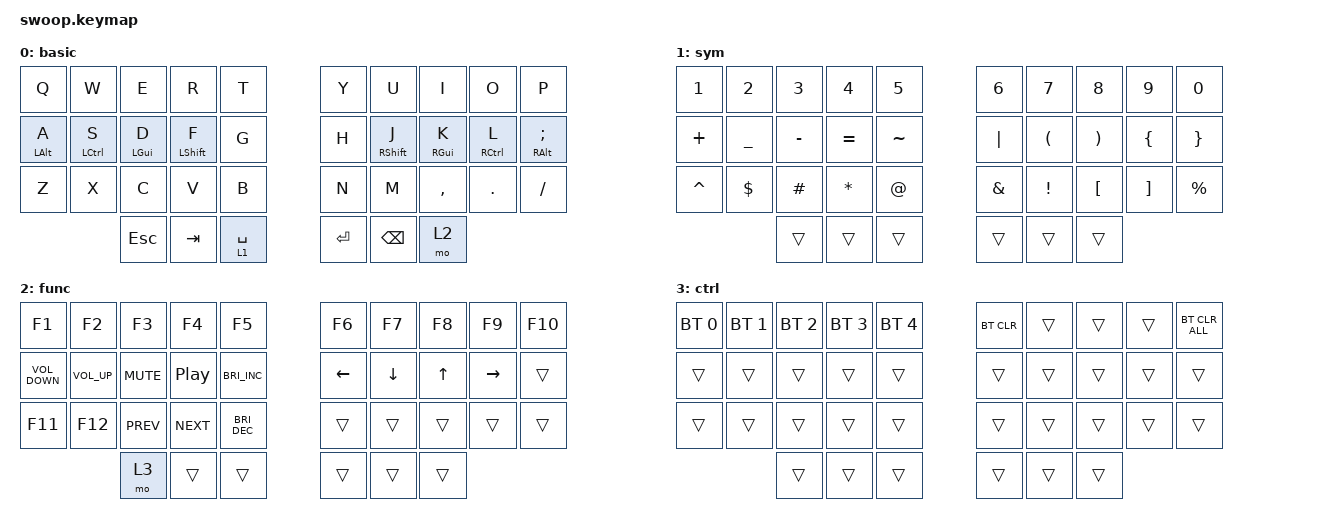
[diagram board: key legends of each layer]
/*
 * Copyright (c) 2020 duckyb
 *
 * SPDX-License-Identifier: MIT
 */

#include <behaviors.dtsi>
#include <dt-bindings/zmk/bt.h>
#include <dt-bindings/zmk/keys.h>

/ {
    combos {
        compatible = "zmk,combos";

        escape {
            bindings = <&kp ESCAPE>;
            key-positions = <0 1>;
            layers = <0>;
        };

        single_quote {
            bindings = <&kp SINGLE_QUOTE>;
            key-positions = <20 21>;
            layers = <0>;
        };

        blackslash {
            bindings = <&kp BACKSLASH>;
            key-positions = <28 29>;
            layers = <0>;
        };

        grave {
            bindings = <&kp GRAVE>;
            key-positions = <20 21>;
            layers = <1>;
        };

        bootloader {
            bindings = <&bootloader>;
            key-positions = <25 26 27>;
            layers = <2>;
        };
    };

    behaviors {
        hm: homerow_mods {
            compatible = "zmk,behavior-hold-tap";
            label = "HOMEROW_MODS";
            #binding-cells = <2>;
            tapping-term-ms = <200>;
            flavor = "balanced";
            bindings = <&kp>, <&kp>;

            quick-tap-ms = <200>;
        };

        ltc: layer-tap_custom {
            compatible = "zmk,behavior-hold-tap";
            label = "LAYER-TAP_CUSTOM";
            #binding-cells = <2>;
            tapping-term-ms = <200>;
            flavor = "balanced";
            bindings = <&mo>, <&kp>;

            quick-tap-ms = <200>;
        };
    };

    keymap {
        compatible = "zmk,keymap";

        basic {
            bindings = <
&kp Q           &kp W               &kp E           &kp R             &kp T           &kp Y      &kp U              &kp I            &kp O                &kp P
&hm LEFT_ALT A  &hm LEFT_CONTROL S  &hm LEFT_GUI D  &hm LEFT_SHIFT F  &kp G           &kp H      &hm RIGHT_SHIFT J  &hm RIGHT_GUI K  &hm RIGHT_CONTROL L  &hm RIGHT_ALT SEMICOLON
&kp Z           &kp X               &kp C           &kp V             &kp B           &kp N      &kp M              &kp COMMA        &kp PERIOD           &kp SLASH
                                    &kp ESCAPE      &kp TAB           &ltc 1 SPACE    &kp ENTER  &kp BACKSPACE      &mo 2
            >;
        };

        sym {
            bindings = <
&kp NUMBER_1  &kp NUMBER_2    &kp NUMBER_3  &kp NUMBER_4  &kp NUMBER_5    &kp NUMBER_6   &kp NUMBER_7          &kp NUMBER_8           &kp NUMBER_9       &kp NUMBER_0
&kp PLUS      &kp UNDERSCORE  &kp MINUS     &kp EQUAL     &kp TILDE       &kp PIPE       &kp LEFT_PARENTHESIS  &kp RIGHT_PARENTHESIS  &kp LEFT_BRACE     &kp RIGHT_BRACE
&kp CARET     &kp DOLLAR      &kp HASH      &kp STAR      &kp AT_SIGN     &kp AMPERSAND  &kp EXCLAMATION       &kp LEFT_BRACKET       &kp RIGHT_BRACKET  &kp PERCENT
                              &trans        &trans        &trans          &trans         &trans                &trans
            >;
        };

        func {
            bindings = <
&kp F1             &kp F2           &kp F3      &kp F4            &kp F5                  &kp F6          &kp F7          &kp F8        &kp F9     &kp F10
&kp C_VOLUME_DOWN  &kp C_VOLUME_UP  &kp C_MUTE  &kp C_PLAY_PAUSE  &kp C_BRIGHTNESS_INC    &kp LEFT_ARROW  &kp DOWN_ARROW  &kp UP_ARROW  &kp RIGHT  &trans
&kp F11            &kp F12          &kp C_PREV  &kp C_NEXT        &kp C_BRIGHTNESS_DEC    &trans          &trans          &trans        &trans     &trans
                                    &mo 3       &trans            &trans                  &trans          &trans          &trans
            >;
        };

        ctrl {
            bindings = <
&bt BT_SEL 0  &bt BT_SEL 1  &bt BT_SEL 2  &bt BT_SEL 3  &bt BT_SEL 4    &bt BT_CLR  &trans  &trans  &trans  &bt BT_CLR_ALL
&trans        &trans        &trans        &trans        &trans          &trans      &trans  &trans  &trans  &trans
&trans        &trans        &trans        &trans        &trans          &trans      &trans  &trans  &trans  &trans
                            &trans        &trans        &trans          &trans      &trans  &trans
            >;
        };
    };

    conditional_layers { compatible = "zmk,conditional-layers"; };
};
